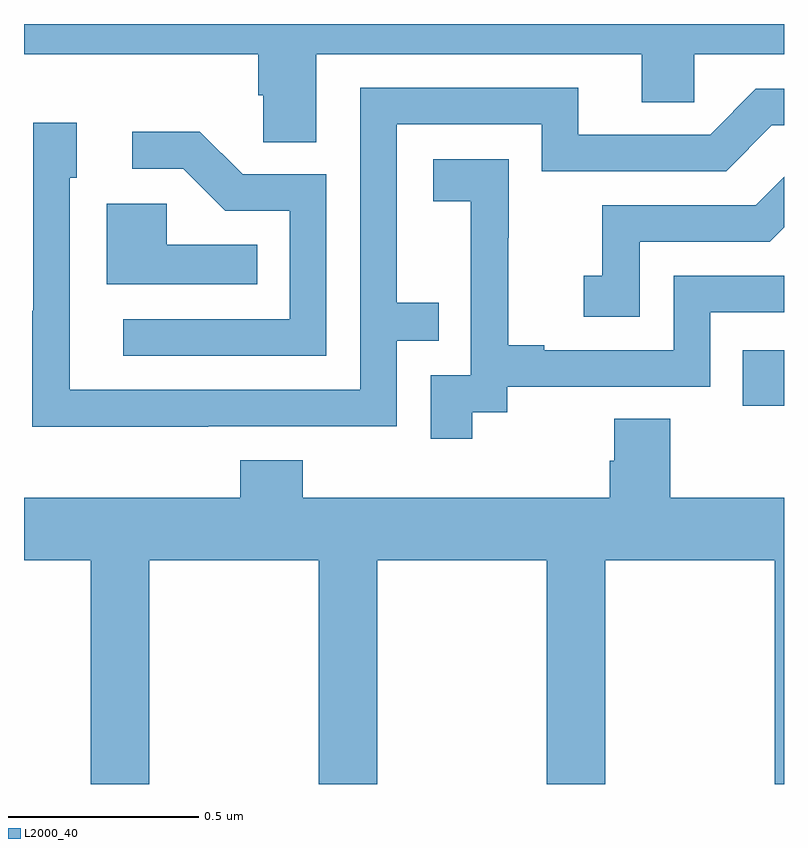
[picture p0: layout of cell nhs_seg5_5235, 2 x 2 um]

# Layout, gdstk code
import gdstk
lib = gdstk.Library(unit=1e-6, precision=1e-09)
def R(c, l, rs):  # rectangles x0, y0, x1, y1
    for r in rs: c.add(gdstk.rectangle(r[:2], r[2:], *l))
def P(c, l, *ps):  # polygons
    for p in ps: c.add(gdstk.Polygon(p, *l))
L2000_40 = (2000, 40)

nhs_seg5_5235 = lib.new_cell('nhs_seg5_5235')
R(nhs_seg5_5235, L2000_40, [(181.891,895.794,182,895.941)])
P(nhs_seg5_5235, L2000_40, [(180.769,896.72),(181.625,896.72),(181.625,896.593),(181.764,896.593),(181.764,896.72),(182,896.72),(182,896.799),(180,896.799),(180,896.72),(180.617,896.72),(180.617,896.611),(180.63,896.611),(180.63,896.488),(180.769,896.488)],
  [(180.485,895.74),(180.981,895.74),(180.981,895.965),(181.091,895.965),(181.091,896.066),(180.981,896.066),(180.981,896.535),(181.362,896.535),(181.362,896.412),(181.848,896.412),(181.968,896.532),(182,896.532),(182,896.628),(181.926,896.628),(181.806,896.508),(181.459,896.508),(181.459,896.631),(180.885,896.631),(180.885,895.836),(180.121,895.836),(180.121,896.09),(180.12,896.09),(180.12,896.394),(180.139,896.394),(180.139,896.539),(180.024,896.539),(180.024,896.045),(180.022,896.045),(180.022,895.739),(180.485,895.739)],
  [(180.795,896.403),(180.576,896.403),(180.463,896.516),(180.285,896.516),(180.285,896.418),(180.419,896.418),(180.53,896.307),(180.699,896.307),(180.699,896.022),(180.261,896.022),(180.261,895.926),(180.795,895.926)],
  [(181.18,895.777),(181.272,895.777),(181.272,895.845),(181.806,895.845),(181.806,896.04),(182,896.04),(182,896.136),(181.71,896.136),(181.71,895.941),(181.369,895.941),(181.369,895.954),(181.274,895.954),(181.274,896.237),(181.275,896.237),(181.275,896.443),(181.077,896.443),(181.077,896.333),(181.175,896.333),(181.175,896.105),(181.176,896.105),(181.176,895.875),(181.071,895.875),(181.071,895.707),(181.18,895.707)],
  [(181.62,896.226),(181.962,896.226),(182,896.264),(182,896.397),(181.925,896.322),(181.522,896.322),(181.522,896.137),(181.473,896.137),(181.473,896.028),(181.62,896.028)],
  [(180.614,896.218),(180.375,896.218),(180.375,896.326),(180.218,896.326),(180.218,896.114),(180.614,896.114)],
  [(180.33,895.388),(180.775,895.388),(180.775,894.799),(180.93,894.799),(180.93,895.388),(181.375,895.388),(181.375,894.799),(181.53,894.799),(181.53,895.388),(181.975,895.388),(181.975,894.799),(182,894.799),(182,895.552),(181.701,895.552),(181.701,895.76),(181.553,895.76),(181.553,895.65),(181.541,895.65),(181.541,895.552),(180.734,895.552),(180.734,895.651),(180.569,895.651),(180.569,895.552),(180,895.552),(180,895.388),(180.175,895.388),(180.175,894.799),(180.33,894.799)])

lib.write_gds('nhs_seg5_5235.gds')
